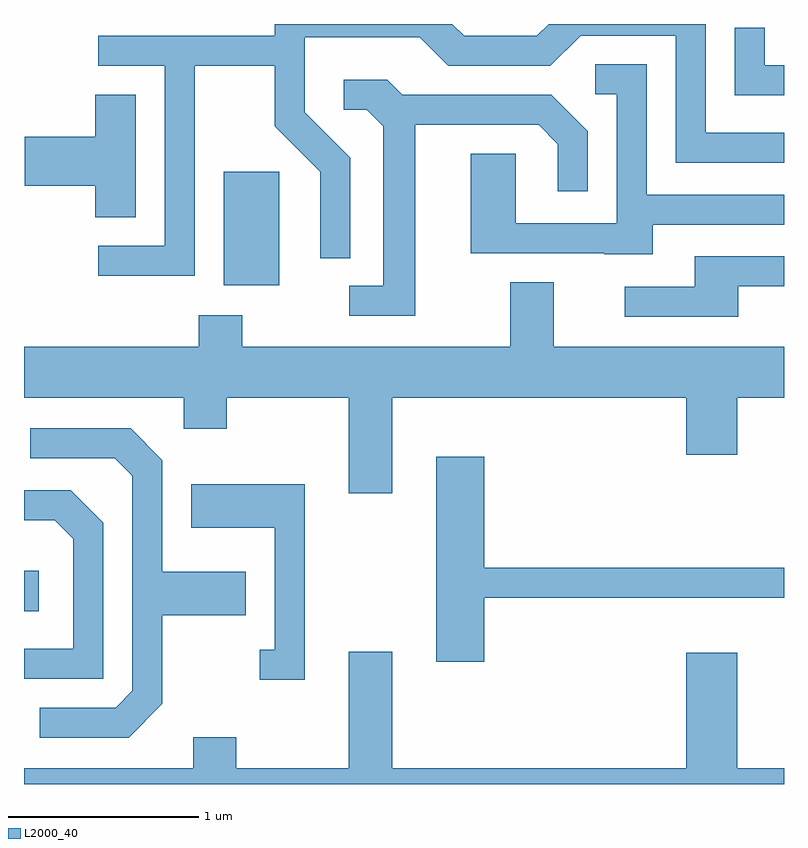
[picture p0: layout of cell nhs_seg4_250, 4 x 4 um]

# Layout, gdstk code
import gdstk
lib = gdstk.Library(unit=1e-6, precision=1e-09)
def R(c, l, rs):  # rectangles x0, y0, x1, y1
    for r in rs: c.add(gdstk.rectangle(r[:2], r[2:], *l))
def P(c, l, *ps):  # polygons
    for p in ps: c.add(gdstk.Polygon(p, *l))
L2000_40 = (2000, 40)

nhs_seg4_250 = lib.new_cell('nhs_seg4_250')
R(nhs_seg4_250, L2000_40, [(191.611,1346.891,191.689,1347.104), (192.661,1348.606,192.954,1349.204)])
P(nhs_seg4_250, L2000_40, [(192.509,1349.761),(192.931,1349.761),(192.931,1349.444),(193.171,1349.204),(193.171,1348.748),(193.329,1348.748),(193.329,1349.277),(193.089,1349.517),(193.089,1349.911),(193.694,1349.911),(193.844,1349.761),(194.382,1349.761),(194.542,1349.921),(195.041,1349.921),(195.041,1349.251),(195.611,1349.251),(195.611,1349.409),(195.199,1349.409),(195.199,1349.982),(194.372,1349.982),(194.309,1349.919),(193.927,1349.919),(193.864,1349.982),(192.931,1349.982),(192.931,1349.919),(192.003,1349.919),(192.003,1349.761),(192.351,1349.761),(192.351,1348.814),(192.003,1348.814),(192.003,1348.656),(192.509,1348.656)],
  [(195.611,1349.764),(195.509,1349.764),(195.509,1349.963),(195.351,1349.963),(195.351,1349.606),(195.611,1349.606)],
  [(194.919,1348.926),(195.611,1348.926),(195.611,1349.084),(194.889,1349.084),(194.889,1349.769),(194.618,1349.769),(194.618,1349.611),(194.731,1349.611),(194.731,1348.934),(194.199,1348.934),(194.199,1349.299),(193.961,1349.299),(193.961,1348.776),(194.665,1348.776),(194.665,1348.771),(194.919,1348.771)],
  [(193.669,1349.451),(194.319,1349.451),(194.421,1349.349),(194.421,1349.103),(194.579,1349.103),(194.579,1349.417),(194.387,1349.609),(193.602,1349.609),(193.522,1349.689),(193.293,1349.689),(193.293,1349.531),(193.414,1349.531),(193.501,1349.444),(193.501,1348.604),(193.323,1348.604),(193.323,1348.446),(193.669,1348.446)],
  [(192.199,1349.609),(191.986,1349.609),(191.986,1349.389),(191.616,1349.389),(191.616,1349.131),(191.986,1349.131),(191.986,1348.966),(192.199,1348.966)],
  [(195.369,1348.601),(195.611,1348.601),(195.611,1348.759),(195.141,1348.759),(195.141,1348.599),(194.773,1348.599),(194.773,1348.441),(195.369,1348.441)],
  [(193.549,1348.016),(195.096,1348.016),(195.096,1347.716),(195.364,1347.716),(195.364,1348.016),(195.611,1348.016),(195.611,1348.284),(194.399,1348.284),(194.399,1348.624),(194.171,1348.624),(194.171,1348.284),(192.759,1348.284),(192.759,1348.449),(192.531,1348.449),(192.531,1348.284),(191.611,1348.284),(191.611,1348.016),(192.451,1348.016),(192.451,1347.851),(192.679,1347.851),(192.679,1348.016),(193.321,1348.016),(193.321,1347.511),(193.549,1347.511)],
  [(192.339,1346.404),(192.339,1346.871),(192.779,1346.871),(192.779,1347.099),(192.339,1347.099),(192.339,1347.687),(192.172,1347.854),(191.643,1347.854),(191.643,1347.696),(192.089,1347.696),(192.181,1347.604),(192.181,1346.472),(192.094,1346.384),(191.693,1346.384),(191.693,1346.226),(192.162,1346.226)],
  [(194.034,1346.961),(195.611,1346.961),(195.611,1347.119),(194.034,1347.119),(194.034,1347.704),(193.781,1347.704),(193.781,1346.626),(194.034,1346.626)],
  [(193.089,1347.559),(192.491,1347.559),(192.491,1347.331),(192.931,1347.331),(192.931,1346.689),(192.853,1346.689),(192.853,1346.531),(193.089,1346.531)],
  [(192.029,1347.357),(191.857,1347.529),(191.611,1347.529),(191.611,1347.371),(191.774,1347.371),(191.871,1347.274),(191.871,1346.694),(191.611,1346.694),(191.611,1346.536),(192.029,1346.536)],
  [(195.611,1346.064),(195.364,1346.064),(195.364,1346.674),(195.096,1346.674),(195.096,1346.064),(193.549,1346.064),(193.549,1346.679),(193.321,1346.679),(193.321,1346.064),(192.729,1346.064),(192.729,1346.229),(192.501,1346.229),(192.501,1346.064),(191.611,1346.064),(191.611,1345.982),(195.611,1345.982)])

lib.write_gds('nhs_seg4_250.gds')
